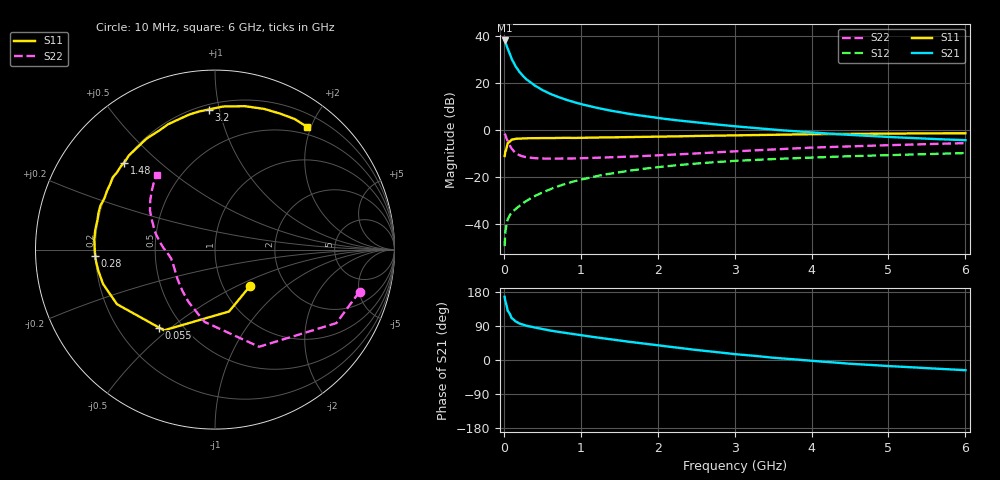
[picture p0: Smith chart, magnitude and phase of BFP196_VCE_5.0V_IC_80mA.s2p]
! Infineon Technologies  Discrete & RF Semiconductors
! BFP196
! VCE = 5.0 V,  IC =  80mA
! Common Emitter S-Parameters:  Jan 2016
# GHz  S  MA  R  50
!  f  S11  S21  S12  S22
! GHz  MAG  ANG  MAG  ANG  MAG  ANG  MAG  ANG
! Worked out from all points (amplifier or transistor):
!   210 points, 10 MHz to 6 GHz, reference 50 ohm
!   highest |S21| = 38.1 dB at 10 MHz (marker M1)
!   |S21| within 3 dB of that: start of sweep to 44.23 MHz
!   unconditionally stable (mu >= 1): 397 MHz to 4.498 GHz; 4.506 GHz to 4.876 GHz
!   at 185 MHz: K = 0.79, MSG = 29.2 dB, |S12| = -32.7 dB
!   at 1.52 GHz: K = 1.08, MAG = 10.9 dB, |S12| = -17.8 dB
!   at 6 GHz: K = 0.98, MSG = 2.7 dB, |S12| = -9.8 dB
!   S11 on the Smith chart (normalised r, x): 10 MHz: 1.34, -0.59; 55 MHz: 0.37, -0.46; 280 MHz: 0.20, -0.03; 1.48 GHz: 0.20, +0.39; 3.2 GHz: 0.23, +0.93; 6 GHz: 0.38, +1.94
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0.01  0.2814 -45.6  80.33 166.9  0.0034 75.5  0.8389 -16.2
0.02  0.3536 -77.2  73.92 154.4  0.0069 69.8  0.7906 -31.2
0.05  0.5321 -122.3  54.01 129.8  0.0127 54.2  0.5944 -65.6
0.055  0.5346 -125.5  51.72 128.6  0.0132 53.7  0.5697 -67.8
0.1  0.6252 -150.9  32.79 110.8  0.0175 50.5  0.407 -98.2
0.15  0.6524 -162.9  22.87 101.9  0.0208 51.6  0.3288 -116.3
0.2  0.6607 -169.8  17.47 96.5  0.0241 55.8  0.2933 -128.2
0.24  0.6655 -173.7  14.69 93.7  0.0271 57.4  0.2769 -135.3
0.28  0.6682 -176.9  12.64 91.2  0.0302 59.6  0.2674 -140.6
0.3  0.6694 -178.3  11.75 90.0  0.0317 60.7  0.2639 -143.0
0.4  0.675 175.4  8.879 85.5  0.0393 63.2  0.2526 -151.6
0.5  0.6761 170.8  7.103 81.7  0.0468 64.4  0.2481 -157.1
0.6  0.6745 166.4  5.922 77.9  0.0551 64.7  0.2467 -160.9
0.7  0.681 162.3  5.096 74.4  0.0635 64.7  0.2472 -163.8
1.02  0.6853 150.9  3.514 64.9  0.0896 62.0  0.252 -170.0
1.48  0.7008 136.2  2.444 52.2  0.1256 56.2  0.2667 -175.9
2.02  0.7268 120.8  1.79 38.4  0.1639 48.1  0.2916 176.8
3.1  0.7774 94.6  1.166 13.8  0.2251 31.7  0.3586 161.0
3.2  0.7813 92.6  1.128 12.1  0.2292 30.3  0.3655 159.5
4.1  0.818 76.7  0.866 -3.7  0.2639 18.9  0.4289 147.6
5.1  0.8417 63.3  0.701 -17.0  0.2967 7.8  0.4818 136.9
6  0.8546 53.2  0.61 -26.9  0.3245 -2.1  0.5276 127.9
